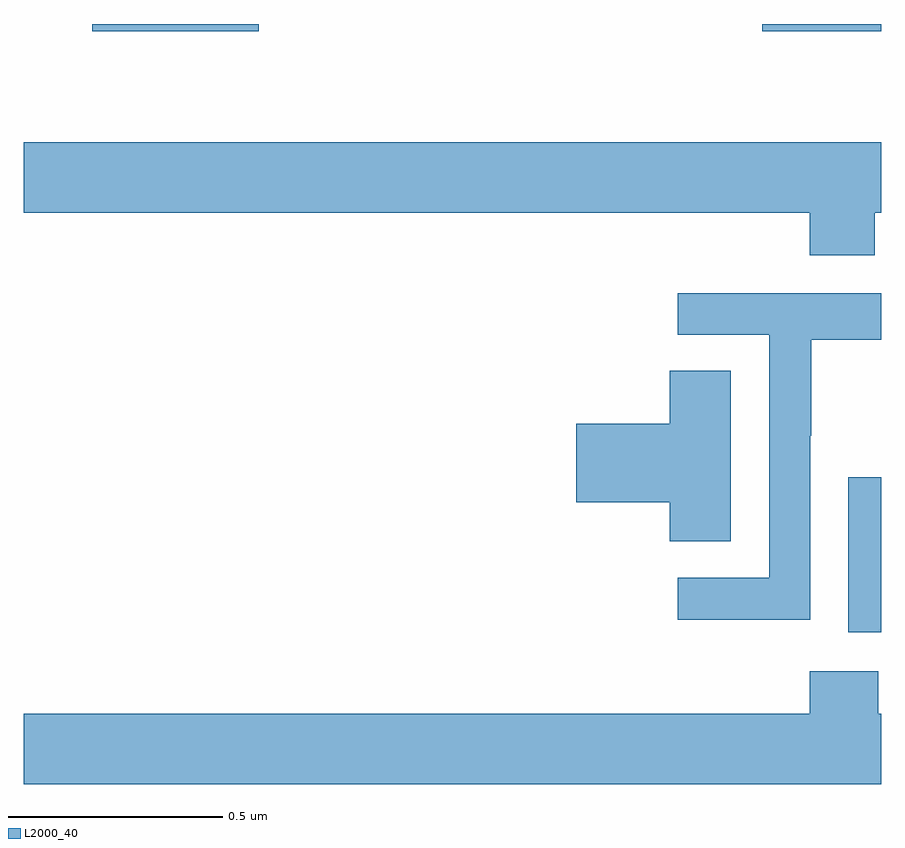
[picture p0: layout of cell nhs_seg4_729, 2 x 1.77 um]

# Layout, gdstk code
import gdstk
lib = gdstk.Library(unit=1e-6, precision=1e-09)
def R(c, l, rs):  # rectangles x0, y0, x1, y1
    for r in rs: c.add(gdstk.rectangle(r[:2], r[2:], *l))
def P(c, l, *ps):  # polygons
    for p in ps: c.add(gdstk.Polygon(p, *l))
L2000_40 = (2000, 40)

nhs_seg4_729 = lib.new_cell('nhs_seg4_729')
R(nhs_seg4_729, L2000_40, [(120.923,822.482,121,822.843), (119.16,823.883,119.548,823.9), (120.722,823.883,121,823.9)])
P(nhs_seg4_729, L2000_40, [(120.985,823.46),(121,823.46),(121,823.624),(119,823.624),(119,823.46),(120.833,823.46),(120.833,823.361),(120.985,823.361)],
  [(120.834,822.94),(120.837,822.94),(120.837,823.164),(121,823.164),(121,823.272),(120.525,823.272),(120.525,823.176),(120.738,823.176),(120.738,822.609),(120.525,822.609),(120.525,822.511),(120.834,822.511)],
  [(120.649,823.091),(120.506,823.091),(120.506,822.968),(120.288,822.968),(120.288,822.785),(120.506,822.785),(120.506,822.694),(120.649,822.694)],
  [(121,822.292),(120.993,822.292),(120.993,822.391),(120.833,822.391),(120.833,822.292),(119,822.292),(119,822.128),(121,822.128)])

lib.write_gds('nhs_seg4_729.gds')
